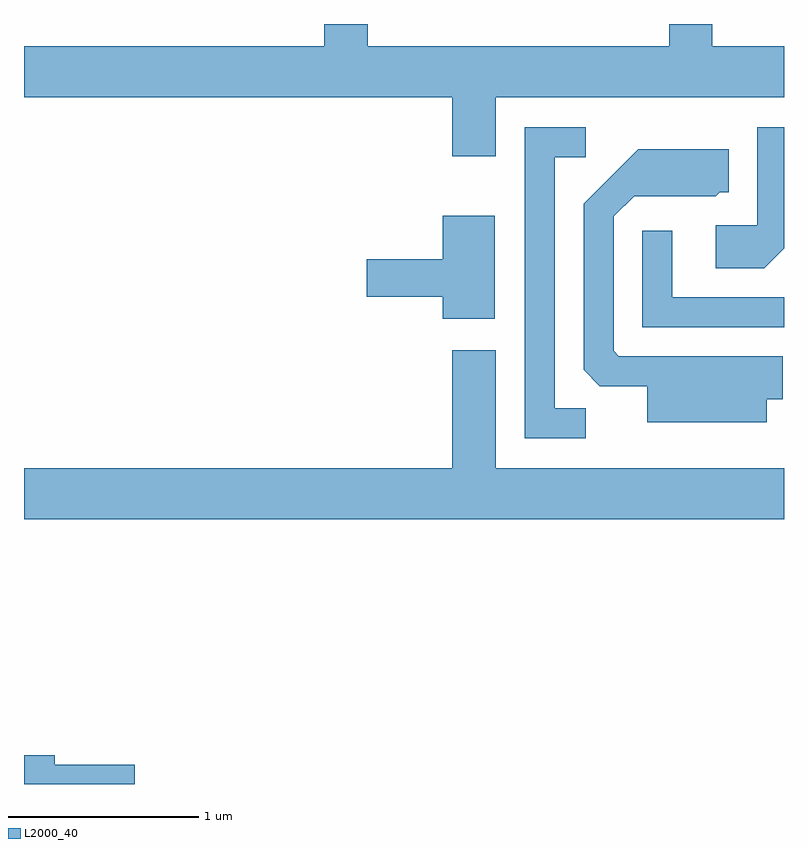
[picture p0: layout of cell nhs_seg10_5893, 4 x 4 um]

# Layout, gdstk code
import gdstk
lib = gdstk.Library(unit=1e-6, precision=1e-09)
def P(c, l, *ps):  # polygons
    for p in ps: c.add(gdstk.Polygon(p, *l))
L2000_40 = (2000, 40)

nhs_seg10_5893 = lib.new_cell('nhs_seg10_5893')
P(nhs_seg10_5893, L2000_40, [(362.094,2116.136),(363.611,2116.136),(363.611,2116.404),(363.234,2116.404),(363.234,2116.522),(363.006,2116.522),(363.006,2116.404),(361.419,2116.404),(361.419,2116.522),(361.191,2116.522),(361.191,2116.404),(359.611,2116.404),(359.611,2116.136),(361.866,2116.136),(361.866,2115.826),(362.094,2115.826)],
  [(363.611,2115.341),(363.611,2115.979),(363.471,2115.979),(363.471,2115.464),(363.251,2115.464),(363.251,2115.236),(363.507,2115.236)],
  [(362.568,2114.499),(362.404,2114.499),(362.404,2115.821),(362.568,2115.821),(362.568,2115.979),(362.246,2115.979),(362.246,2114.341),(362.568,2114.341)],
  [(363.519,2114.546),(363.604,2114.546),(363.604,2114.774),(362.742,2114.774),(362.714,2114.802),(362.714,2115.509),(362.822,2115.616),(363.252,2115.616),(363.272,2115.636),(363.319,2115.636),(363.319,2115.864),(362.844,2115.864),(362.556,2115.577),(362.556,2114.702),(362.642,2114.616),(362.891,2114.616),(362.891,2114.426),(363.519,2114.426)],
  [(362.089,2115.514),(361.816,2115.514),(361.816,2115.284),(361.416,2115.284),(361.416,2115.086),(361.816,2115.086),(361.816,2114.971),(362.089,2114.971)],
  [(363.611,2115.084),(363.024,2115.084),(363.024,2115.433),(362.866,2115.433),(362.866,2114.926),(363.611,2114.926)],
  [(363.611,2114.184),(362.094,2114.184),(362.094,2114.804),(361.866,2114.804),(361.866,2114.184),(359.611,2114.184),(359.611,2113.916),(363.611,2113.916)],
  [(360.194,2112.624),(359.774,2112.624),(359.774,2112.674),(359.611,2112.674),(359.611,2112.522),(360.194,2112.522)])

lib.write_gds('nhs_seg10_5893.gds')
